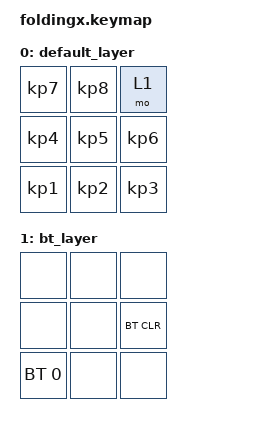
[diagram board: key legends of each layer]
/*
 * Copyright (c) 2021 Nick Winans
 *
 * SPDX-License-Identifier: MIT
 */

#include <dt-bindings/zmk/reset.h>
#include <behaviors.dtsi>
#include <dt-bindings/zmk/bt.h>
#include <dt-bindings/zmk/keys.h>
#include <dt-bindings/zmk/rgb.h>

/ {
    keymap {
        compatible = "zmk,keymap";

        default_layer {
            bindings = <
                    &kp KP_N7   &kp KP_N8   &mo 1
                    &kp KP_N4   &kp KP_N5   &kp KP_N6
                    &kp KP_N1   &kp KP_N2   &kp KP_N3
          >;
        };
                bt_layer {
            bindings = <
                    &none         &none           &none
                    &none         &none           &bt BT_CLR
                    &bt BT_SEL 0  &none           &none  
            >;
        };
    };
};
